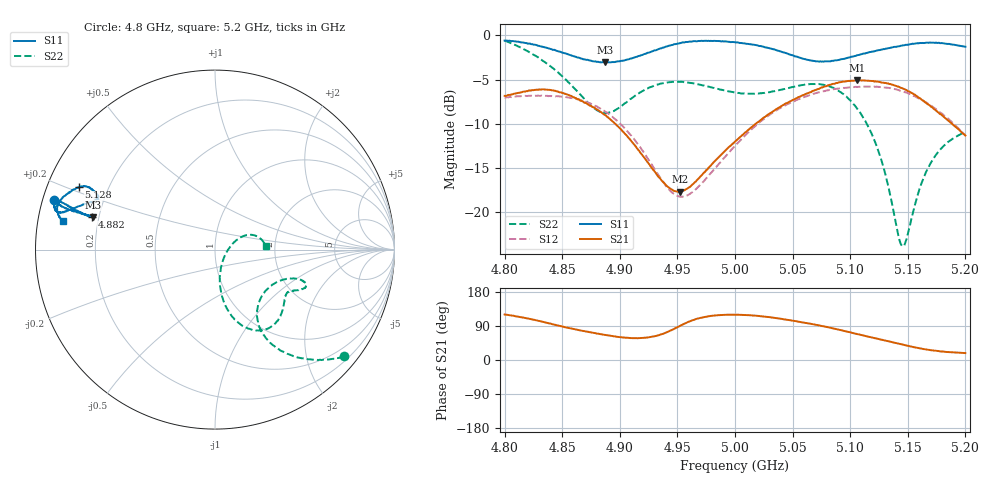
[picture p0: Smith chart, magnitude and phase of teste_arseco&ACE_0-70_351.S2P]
! Network Analyzer HP8722D
! Hewlett-Packard
! Data name: Linha & Wilkinson
! Saver's name: Rodrigo Anjos
! Comments: Teste da utilização de aquisição
! continua pelo VNA HP8722D
! Time and date: 8/5/2025 15:41
!  Frequency  S11  S21  S12  S22
# HZ  S  MA R 50
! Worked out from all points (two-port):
!   401 points, 4.8 GHz to 5.2 GHz, reference 50 ohm
!   highest |S21| = -5.06 dB at 5.106 GHz (marker M1); lowest = -17.7 dB at 4.952 GHz (marker M2)
!   |S21| within 3 dB of the highest: start of sweep to 4.876 GHz; 5.04 GHz to 5.17 GHz (130.7 MHz wide, 2.56 % of centre)
!   lowest |S11| = -3.0 dB at 4.887 GHz (marker M3), VSWR 5.76, Z = 8.82 + j6.37 ohm
!   |S11| at or under -10 dB: nowhere
!   |S22| runs from -23.9 to -0.6 dB; largest |S21 - S12| = 0.73
!   S11 on the Smith chart (normalised r, x): 4.8 GHz: 0.03, +0.15; 4.882 GHz: 0.17, +0.13; 5.128 GHz: 0.09, +0.22; 5.2 GHz: 0.07, +0.09
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4.8e9  0.9363 162.9  0.4551 120.1  0.4453 15.4  0.933 -39.6
4.831e9  0.8687 164.5  0.494 102.3  0.455 5.7  0.7372 -53.6
4.867e9  0.7398 164.9  0.4259 77.3  0.4288 -10.1  0.4534 -58.5
4.882e9  0.7071 165.2  0.3745 69.0  0.39 -18.8  0.3718 -46.7
4.887e9  0.7043 165.0  0.3555 66.3  0.3723 -21.8  0.3641 -40.7
4.907e9  0.7319 165.2  0.2661 58.5  0.2845 -31.7  0.4253 -22.9
4.934e9  0.8398 163.6  0.1574 65.4  0.1606 -29.3  0.5299 -19.9
4.952e9  0.9038 162.7  0.1304 89.5  0.1224 -4.6  0.5464 -22.3
4.966e9  0.9276 162.8  0.1492 108.0  0.1347 17.1  0.5327 -24.4
5e9  0.9164 166.1  0.2509 119.3  0.2376 37.5  0.4751 -29.2
5.034e9  0.8348 164.4  0.3752 111.2  0.3707 32.0  0.4832 -37.1
5.067e9  0.7198 157.5  0.4841 94.8  0.4647 17.2  0.5312 -51.8
5.087e9  0.7234 155.0  0.5347 82.2  0.4979 5.8  0.4979 -64.2
5.106e9  0.7734 153.9  0.5585 68.4  0.5108 -5.7  0.3851 -75.7
5.118e9  0.8067 154.0  0.5529 60.0  0.5132 -13.4  0.2835 -80.7
5.128e9  0.8342 155.4  0.5408 53.1  0.5099 -19.9  0.1882 -81.6
5.134e9  0.8487 156.6  0.5312 48.6  0.504 -23.9  0.1314 -77.2
5.142e9  0.8687 158.2  0.5138 43.1  0.4915 -29.3  0.07243 -51.5
5.146e9  0.8799 159.4  0.5003 40.1  0.4819 -31.8  0.06418 -23.2
5.161e9  0.9071 162.7  0.4394 30.6  0.4364 -40.9  0.1404 24.8
5.17e9  0.9103 164.5  0.396 25.8  0.4009 -45.4  0.1903 24.7
5.2e9  0.8639 169.3  0.2716 18.3  0.2712 -54.1  0.2832 4.2
